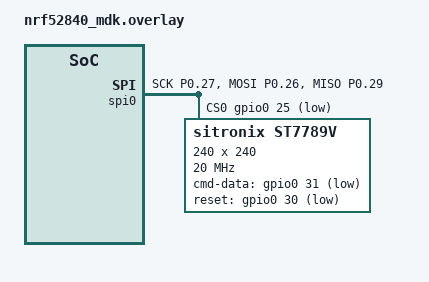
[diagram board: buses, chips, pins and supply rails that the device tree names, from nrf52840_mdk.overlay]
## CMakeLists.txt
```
cmake_minimum_required(VERSION 3.20.0)

find_package(Zephyr REQUIRED HINTS $ENV{ZEPHYR_BASE})
project(lvgl_nrf52840_mdk_sample)

FILE(GLOB app_sources src/*.c)
target_sources(app PRIVATE ${app_sources})
```

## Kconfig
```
# SPDX-License-Identifier: Apache-2.0

mainmenu "lvgl_nrf52840_mdk_sample"

# Your application configuration options go here

# Sources Kconfig.zephyr in the Zephyr root directlyory.
#
# Note: All 'source' statements work relative to the Zephyr root directlyory (due
# to the $srctree environment variable being set to $ZEPHYR_BASE). If you want
# to 'source' relative to the current Kconfig file instead, use 'rsource' (or a
# path relative to the Zephyr root).
source "Kconfig.zephyr"
```

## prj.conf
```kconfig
# Hardware config
CONFIG_GPIO=y
CONFIG_SPI=y
CONFIG_SPI_NRFX=y
CONFIG_SPI_NRFX_RAM_BUFFER_SIZE=32

# Display config
CONFIG_ST7789V=y
CONFIG_ST7789V_RGB565=y
CONFIG_DISPLAY=y
CONFIG_DISPLAY_LOG_LEVEL_ERR=y

# System config
CONFIG_MAIN_STACK_SIZE=2048
CONFIG_LOG=y

# LVGL config
CONFIG_LVGL=y
CONFIG_LV_MEM_CUSTOM=y
CONFIG_LV_USE_LOG=y
CONFIG_LV_COLOR_DEPTH_16=y
CONFIG_LV_COLOR_16_SWAP=y
CONFIG_LV_Z_BITS_PER_PIXEL=16
CONFIG_LV_USE_THEME_DEFAULT=y
CONFIG_LV_THEME_DEFAULT_DARK=y
CONFIG_LV_USE_METER=y
CONFIG_LV_Z_MEM_POOL_NUMBER_BLOCKS=8
```

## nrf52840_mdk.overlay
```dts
/*
* nRF52840_mdk			ST7789V (240x240)
* 
* P0.28 (RESET)			RES
* P0.29 (D5)			DC (DATA/CMD)
* P0.27 (SCK)			SCL
* P0.26 (MOSI)			SDA
*/

/ {
   chosen {
	   zephyr,display = &st7789v;
   };
};

&pinctrl {
	spi0_default: spi0_default {
		group1 {
			psels = <NRF_PSEL(SPIM_SCK, 0, 27)>,
				<NRF_PSEL(SPIM_MOSI, 0, 26)>,
				<NRF_PSEL(SPIM_MISO, 0, 29)>;
		};
	};

	spi0_sleep: spi0_sleep {
		group1 {
			psels = <NRF_PSEL(SPIM_SCK, 0, 27)>,
				<NRF_PSEL(SPIM_MOSI, 0, 26)>,
				<NRF_PSEL(SPIM_MISO, 0, 29)>;
			low-power-enable;
		};
	};
};

&spi0 {
	compatible = "nordic,nrf-spim";
	status = "okay";
	pinctrl-0 = <&spi0_default>;
	pinctrl-1 = <&spi0_sleep>;
	cs-gpios = <&gpio0 25 GPIO_ACTIVE_LOW>;
	pinctrl-names = "default", "sleep";
	
	st7789v: st7789v@0 {
		compatible = "sitronix,st7789v";
		label = "ST7789V";
		spi-max-frequency = <20000000>;
		reg = <0>;
		cmd-data-gpios = <&gpio0 31 GPIO_ACTIVE_LOW>;
		reset-gpios = <&gpio0 30 GPIO_ACTIVE_LOW>;
		width = <240>;
		height = <240>;
		x-offset = <0>;
		y-offset = <0>;
		vcom = <0x19>;
		gctrl = <0x35>;
		vrhs = <0x12>;
		vdvs = <0x20>;
		mdac = <0x00>;
		lcm = <0x2c>;
		colmod = <0x05>;
		gamma = <0x01>;
		porch-param = [0c 0c 00 33 33];
		cmd2en-param = [5a 69 02 01];
		pwctrl1-param = [a4 a1];
		pvgam-param = [D0 04 0D 11 13 2B 3F 54 4C 18 0D 0B 1F 23];
		nvgam-param = [D0 04 0C 11 13 2C 3F 44 51 2F 1F 1F 20 23];
		ram-param = [00 F0];
		rgb-param = [CD 08 14];
	};

};
```

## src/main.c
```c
#include <device.h>
#include <drivers/display.h>
#include <lvgl.h>
#include <stdio.h>
#include <string.h>
#include <zephyr.h>
#include "lvgl_sample.h"

#define LOG_LEVEL CONFIG_LOG_DEFAULT_LEVEL
#include <logging/log.h>
LOG_MODULE_REGISTER(app);

void main(void)
{
	const struct device *display_dev;

	display_dev = DEVICE_DT_GET(DT_CHOSEN(zephyr_display));
	if (!device_is_ready(display_dev)) {
		LOG_ERR("Device not ready, aborting test");
		return;
	}

	lv_sample();
	lv_task_handler();
	display_blanking_off(display_dev);

	while (1) {
		lv_task_handler();
		k_sleep(K_MSEC(10));
	}
}
```

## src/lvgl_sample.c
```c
#include <lvgl.h>

static lv_obj_t * meter;

static void set_value(void * indic, int32_t v)
{
    lv_meter_set_indicator_end_value(meter, indic, v);
}

/**
 * A meter with multiple arcs
 */
static void lv_example_meter_2(void)
{
    meter = lv_meter_create(lv_scr_act());
    lv_obj_center(meter);
    lv_obj_set_size(meter, 200, 200);

    /*Remove the circle from the middle*/
    lv_obj_remove_style(meter, NULL, LV_PART_INDICATOR);

    /*Add a scale first*/
    lv_meter_scale_t * scale = lv_meter_add_scale(meter);
    lv_meter_set_scale_ticks(meter, scale, 11, 2, 10, lv_palette_main(LV_PALETTE_GREY));
    lv_meter_set_scale_major_ticks(meter, scale, 1, 2, 30, lv_color_hex3(0xeee), 15);
    lv_meter_set_scale_range(meter, scale, 0, 100, 270, 90);

    /*Add a three arc indicator*/
    lv_meter_indicator_t * indic1 = lv_meter_add_arc(meter, scale, 10, lv_palette_main(LV_PALETTE_RED), 0);
    lv_meter_indicator_t * indic2 = lv_meter_add_arc(meter, scale, 10, lv_palette_main(LV_PALETTE_GREEN), -10);
    lv_meter_indicator_t * indic3 = lv_meter_add_arc(meter, scale, 10, lv_palette_main(LV_PALETTE_BLUE), -20);

    /*Create an animation to set the value*/
    lv_anim_t a;
    lv_anim_init(&a);
    lv_anim_set_exec_cb(&a, set_value);
    lv_anim_set_values(&a, 0, 100);
    lv_anim_set_repeat_delay(&a, 100);
    lv_anim_set_playback_delay(&a, 100);
    lv_anim_set_repeat_count(&a, LV_ANIM_REPEAT_INFINITE);

    lv_anim_set_time(&a, 2000);
    lv_anim_set_playback_time(&a, 500);
    lv_anim_set_var(&a, indic1);
    lv_anim_start(&a);

    lv_anim_set_time(&a, 1000);
    lv_anim_set_playback_time(&a, 1000);
    lv_anim_set_var(&a, indic2);
    lv_anim_start(&a);

    lv_anim_set_time(&a, 1000);
    lv_anim_set_playback_time(&a, 2000);
    lv_anim_set_var(&a, indic3);
    lv_anim_start(&a);
}

void lv_sample(void)
{
    lv_example_meter_2();
}
```

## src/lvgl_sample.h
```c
#ifndef LVGL_SAMPLE_H
#define LVGL_SAMPLE_H

void lv_sample(void);

#endif
```
